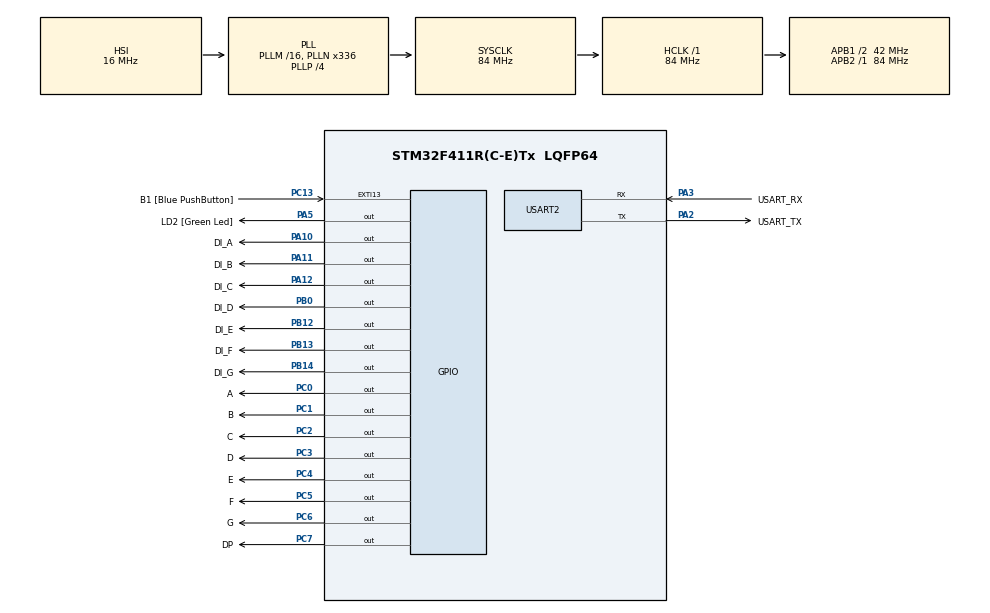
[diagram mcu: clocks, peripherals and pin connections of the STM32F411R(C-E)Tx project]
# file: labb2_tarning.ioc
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Mcu.Family=STM32F4
Mcu.Name=STM32F411R(C-E)Tx
Mcu.Package=LQFP64
NVIC.PriorityGroup=NVIC_PRIORITYGROUP_0
PA10.GPIO_Label=DI_A
PA10.Signal=GPIO_Output
PA11.GPIO_Label=DI_B
PA11.Signal=GPIO_Output
PA12.GPIO_Label=DI_C
PA12.Signal=GPIO_Output
PA13.GPIO_Label=TMS
PA13.Mode=Serial_Wire
PA13.Signal=SYS_JTMS-SWDIO
PA14.GPIO_Label=TCK
PA14.Mode=Serial_Wire
PA14.Signal=SYS_JTCK-SWCLK
PA2.GPIO_Label=USART_TX
PA2.Mode=Asynchronous
PA2.Signal=USART2_TX
PA3.GPIO_Label=USART_RX
PA3.Mode=Asynchronous
PA3.Signal=USART2_RX
PA5.GPIO_Label=LD2 [Green Led]
PA5.Signal=GPIO_Output
PB0.GPIO_Label=DI_D
PB0.Signal=GPIO_Output
PB12.GPIO_Label=DI_E
PB12.Signal=GPIO_Output
PB13.GPIO_Label=DI_F
PB13.Signal=GPIO_Output
PB14.GPIO_Label=DI_G
PB14.Signal=GPIO_Output
PB3.GPIO_Label=SWO
PB3.Signal=SYS_JTDO-SWO
PC0.GPIO_Label=A
PC0.PinState=GPIO_PIN_RESET
PC0.Signal=GPIO_Output
PC1.GPIO_Label=B
PC1.PinState=GPIO_PIN_RESET
PC1.Signal=GPIO_Output
PC13-ANTI_TAMP.GPIO_Label=B1 [Blue PushButton]
PC13-ANTI_TAMP.GPIO_ModeDefaultEXTI=GPIO_MODE_IT_FALLING
PC13-ANTI_TAMP.Signal=GPXTI13
PC14-OSC32_IN.Mode=LSE-External-Oscillator
PC14-OSC32_IN.Signal=RCC_OSC32_IN
PC15-OSC32_OUT.Mode=LSE-External-Oscillator
PC15-OSC32_OUT.Signal=RCC_OSC32_OUT
PC2.GPIO_Label=C
PC2.PinState=GPIO_PIN_RESET
PC2.Signal=GPIO_Output
PC3.GPIO_Label=D
PC3.PinState=GPIO_PIN_RESET
PC3.Signal=GPIO_Output
PC4.GPIO_Label=E
PC4.PinState=GPIO_PIN_RESET
PC4.Signal=GPIO_Output
PC5.GPIO_Label=F
PC5.PinState=GPIO_PIN_RESET
PC5.Signal=GPIO_Output
PC6.GPIO_Label=G
PC6.PinState=GPIO_PIN_RESET
PC6.Signal=GPIO_Output
PC7.GPIO_Label=DP
PC7.PinState=GPIO_PIN_RESET
PC7.Signal=GPIO_Output
PH0\ -\ OSC_IN.Mode=HSE-External-Clock-Source
PH0\ -\ OSC_IN.Signal=RCC_OSC_IN
PH1\ -\ OSC_OUT.Mode=HSE-External-Clock-Source
PH1\ -\ OSC_OUT.Signal=RCC_OSC_OUT
ProjectManager.HeapSize=0x200
ProjectManager.StackSize=0x400
ProjectManager.TargetToolchain=STM32CubeIDE
RCC.48MHZClocksFreq_Value=84000000
RCC.AHBFreq_Value=84000000
RCC.APB1CLKDivider=RCC_HCLK_DIV2
RCC.APB1Freq_Value=42000000
RCC.APB1TimFreq_Value=84000000
RCC.APB2Freq_Value=84000000
RCC.APB2TimFreq_Value=84000000
RCC.CortexFreq_Value=84000000
RCC.FLatency-AdvancedSettings=FLASH_LATENCY_2
RCC.HCLKFreq_Value=84000000
RCC.HSE_VALUE=8000000
RCC.HSI_VALUE=16000000
RCC.PLLN=336
RCC.PLLP=RCC_PLLP_DIV4
RCC.SYSCLKFreq_VALUE=84000000
RCC.SYSCLKSource=RCC_SYSCLKSOURCE_PLLCLK
RCC.VCOOutputFreq_Value=336000000
USART2.VirtualMode=VM_ASYNC
board=NUCLEO-F411RE

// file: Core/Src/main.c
/* USER CODE BEGIN Header */
/**
  ******************************************************************************
  * @file           : main.c
  * @brief          : Main program body
  ******************************************************************************
  * @attention
  *
  * Copyright (c) 2023 STMicroelectronics.
  * All rights reserved.
  *
  * This software is licensed under terms that can be found in the LICENSE file
  * in the root directory of this software component.
  * If no LICENSE file comes with this software, it is provided AS-IS.
  *
  ******************************************************************************
  */
/* USER CODE END Header */
#include "main.h"

/* USER CODE BEGIN PTD */
  const uint8_t sseg[10] = {0x3F, 0x6, 0x5B, 0x4F, 0x66, 0x6D, 0x7D, 0x7, 0x7F, 0x6F, 0xDC};
  const uint8_t sseg_err = 0xDC;
/* USER CODE END PTD */

UART_HandleTypeDef huart2;

void SystemClock_Config(void);
static void MX_GPIO_Init(void);
static void MX_USART2_UART_Init(void);

/* USER CODE BEGIN 0 */
//return 1 if blue button is pressed
//return 0 if blue button is't pressed
int is_blue_butten_pressed()
{

	if(GPIOC->IDR & (1 << 13)){
		return 0;
	}
	else{
	   return 1;
	}
}

void put_die_dots(uint8_t die_nbr){

	switch(die_nbr){
		case 1:
			HAL_GPIO_WritePin(DI_A_GPIO_Port, DI_A_Pin, GPIO_PIN_RESET);
			HAL_GPIO_WritePin(DI_B_GPIO_Port, DI_B_Pin, GPIO_PIN_RESET);
			HAL_GPIO_WritePin(DI_C_GPIO_Port, DI_C_Pin, GPIO_PIN_RESET);
			HAL_GPIO_WritePin(DI_D_GPIO_Port, DI_D_Pin, GPIO_PIN_SET);
			HAL_GPIO_WritePin(DI_E_GPIO_Port, DI_E_Pin, GPIO_PIN_RESET);
			HAL_GPIO_WritePin(DI_F_GPIO_Port, DI_F_Pin, GPIO_PIN_RESET);
			HAL_GPIO_WritePin(DI_G_GPIO_Port, DI_G_Pin, GPIO_PIN_RESET);
			break;
		case 2:
			HAL_GPIO_WritePin(DI_A_GPIO_Port, DI_A_Pin, GPIO_PIN_SET);
			HAL_GPIO_WritePin(DI_B_GPIO_Port, DI_B_Pin, GPIO_PIN_RESET);
			HAL_GPIO_WritePin(DI_C_GPIO_Port, DI_C_Pin, GPIO_PIN_RESET);
			HAL_GPIO_WritePin(DI_D_GPIO_Port, DI_D_Pin, GPIO_PIN_RESET);
			HAL_GPIO_WritePin(DI_E_GPIO_Port, DI_E_Pin, GPIO_PIN_RESET);
			HAL_GPIO_WritePin(DI_F_GPIO_Port, DI_F_Pin, GPIO_PIN_RESET);
			HAL_GPIO_WritePin(DI_G_GPIO_Port, DI_G_Pin, GPIO_PIN_RESET);
			break;
		case 3:
			HAL_GPIO_WritePin(DI_A_GPIO_Port, DI_A_Pin, GPIO_PIN_RESET);
			HAL_GPIO_WritePin(DI_B_GPIO_Port, DI_B_Pin, GPIO_PIN_SET);
			HAL_GPIO_WritePin(DI_C_GPIO_Port, DI_C_Pin, GPIO_PIN_RESET);
			HAL_GPIO_WritePin(DI_D_GPIO_Port, DI_D_Pin, GPIO_PIN_RESET);
			HAL_GPIO_WritePin(DI_E_GPIO_Port, DI_E_Pin, GPIO_PIN_RESET);
			HAL_GPIO_WritePin(DI_F_GPIO_Port, DI_F_Pin, GPIO_PIN_RESET);
			HAL_GPIO_WritePin(DI_G_GPIO_Port, DI_G_Pin, GPIO_PIN_RESET);
			break;
		case 4:
			HAL_GPIO_WritePin(DI_A_GPIO_Port, DI_A_Pin, GPIO_PIN_RESET);
			HAL_GPIO_WritePin(DI_B_GPIO_Port, DI_B_Pin, GPIO_PIN_RESET);
			HAL_GPIO_WritePin(DI_C_GPIO_Port, DI_C_Pin, GPIO_PIN_SET);
			HAL_GPIO_WritePin(DI_D_GPIO_Port, DI_D_Pin, GPIO_PIN_RESET);
			HAL_GPIO_WritePin(DI_E_GPIO_Port, DI_E_Pin, GPIO_PIN_RESET);
			HAL_GPIO_WritePin(DI_F_GPIO_Port, DI_F_Pin, GPIO_PIN_RESET);
			HAL_GPIO_WritePin(DI_G_GPIO_Port, DI_G_Pin, GPIO_PIN_RESET);
			break;
		case 5:
			HAL_GPIO_WritePin(DI_A_GPIO_Port, DI_A_Pin, GPIO_PIN_RESET);
			HAL_GPIO_WritePin(DI_B_GPIO_Port, DI_B_Pin, GPIO_PIN_RESET);
			HAL_GPIO_WritePin(DI_C_GPIO_Port, DI_C_Pin, GPIO_PIN_RESET);
			HAL_GPIO_WritePin(DI_D_GPIO_Port, DI_D_Pin, GPIO_PIN_RESET);
			HAL_GPIO_WritePin(DI_E_GPIO_Port, DI_E_Pin, GPIO_PIN_SET);
			HAL_GPIO_WritePin(DI_F_GPIO_Port, DI_F_Pin, GPIO_PIN_RESET);
			HAL_GPIO_WritePin(DI_G_GPIO_Port, DI_G_Pin, GPIO_PIN_RESET);
			break;
		case 6:
			HAL_GPIO_WritePin(DI_A_GPIO_Port, DI_A_Pin, GPIO_PIN_RESET);
			HAL_GPIO_WritePin(DI_B_GPIO_Port, DI_B_Pin, GPIO_PIN_RESET);
			HAL_GPIO_WritePin(DI_C_GPIO_Port, DI_C_Pin, GPIO_PIN_RESET);
			HAL_GPIO_WritePin(DI_D_GPIO_Port, DI_D_Pin, GPIO_PIN_RESET);
			HAL_GPIO_WritePin(DI_E_GPIO_Port, DI_E_Pin, GPIO_PIN_RESET);
			HAL_GPIO_WritePin(DI_F_GPIO_Port, DI_F_Pin, GPIO_PIN_SET);
			HAL_GPIO_WritePin(DI_G_GPIO_Port, DI_G_Pin, GPIO_PIN_RESET);
			break;
		default:
			HAL_GPIO_WritePin(DI_A_GPIO_Port, DI_A_Pin, GPIO_PIN_RESET);
			HAL_GPIO_WritePin(DI_B_GPIO_Port, DI_B_Pin, GPIO_PIN_RESET);
			HAL_GPIO_WritePin(DI_C_GPIO_Port, DI_C_Pin, GPIO_PIN_RESET);
			HAL_GPIO_WritePin(DI_D_GPIO_Port, DI_D_Pin, GPIO_PIN_RESET);
			HAL_GPIO_WritePin(DI_E_GPIO_Port, DI_E_Pin, GPIO_PIN_RESET);
			HAL_GPIO_WritePin(DI_F_GPIO_Port, DI_F_Pin, GPIO_PIN_RESET);
			HAL_GPIO_WritePin(DI_G_GPIO_Port, DI_G_Pin, GPIO_PIN_SET);
			break;

	}
}

void put_on_sseg(uint8_t dec_nbr){

	if (dec_nbr >= 0 && dec_nbr <= 9){
		GPIOC->ODR = sseg[dec_nbr];

	}
	else {
		GPIOC->ODR = sseg_err;
	}
}

/* USER CODE END 0 */

int main(void)
{
  /* USER CODE BEGIN 1 */
	//func_a();
  /* USER CODE END 1 */

  /* MCU Configuration--------------------------------------------------------*/

  /* Reset of all peripherals, Initializes the Flash interface and the Systick. */
  HAL_Init();

  /* Configure the system clock */
  SystemClock_Config();

  /* Initialize all configured peripherals */
  MX_GPIO_Init();
  MX_USART2_UART_Init();

  /* Infinite loop */
  /* USER CODE BEGIN WHILE */
  int pressed = 0;
  uint8_t die_value = 0;

  for(uint8_t i = 0; i <= 9; i++){
  		put_on_sseg(i);
  		HAL_Delay(333);
  	}
  put_on_sseg(88); // should desplay the error pattern

  while (1)
  {
	  die_value = (rand() % 6) + 1;

	 pressed = HAL_GPIO_ReadPin(B1_GPIO_Port, B1_Pin);
	 if(is_blue_butten_pressed()){
		 HAL_GPIO_WritePin(LD2_GPIO_Port,LD2_Pin, GPIO_PIN_SET);
		 put_die_dots( die_value);
		 put_on_sseg(die_value);
		 HAL_Delay(100);
	 }
	 else {
		 GPIO_TypeDef* ld2_gpio = GPIOC;
		 uint16_t	ld2_pin_nbr = 13;
		 uint16_t	ld2_pin		= 0x01 << ld2_pin_nbr;
		 HAL_GPIO_WritePin(ld2_gpio, ld2_pin,GPIO_PIN_RESET);
	 }
    /* USER CODE END WHILE */

  }
}

void SystemClock_Config(void)
{
  RCC_OscInitTypeDef RCC_OscInitStruct = {0};
  RCC_ClkInitTypeDef RCC_ClkInitStruct = {0};

  /** Configure the main internal regulator output voltage
  */
  __HAL_RCC_PWR_CLK_ENABLE();
  __HAL_PWR_VOLTAGESCALING_CONFIG(PWR_REGULATOR_VOLTAGE_SCALE1);

  /** Initializes the RCC Oscillators according to the specified parameters
  * in the RCC_OscInitTypeDef structure.
  */
  RCC_OscInitStruct.OscillatorType = RCC_OSCILLATORTYPE_HSI;
  RCC_OscInitStruct.HSIState = RCC_HSI_ON;
  RCC_OscInitStruct.HSICalibrationValue = RCC_HSICALIBRATION_DEFAULT;
  RCC_OscInitStruct.PLL.PLLState = RCC_PLL_ON;
  RCC_OscInitStruct.PLL.PLLSource = RCC_PLLSOURCE_HSI;
  RCC_OscInitStruct.PLL.PLLM = 16;
  RCC_OscInitStruct.PLL.PLLN = 336;
  RCC_OscInitStruct.PLL.PLLP = RCC_PLLP_DIV4;
  RCC_OscInitStruct.PLL.PLLQ = 4;
  if (HAL_RCC_OscConfig(&RCC_OscInitStruct) != HAL_OK)
  {
    Error_Handler();
  }

  /** Initializes the CPU, AHB and APB buses clocks
  */
  RCC_ClkInitStruct.ClockType = RCC_CLOCKTYPE_HCLK|RCC_CLOCKTYPE_SYSCLK
                              |RCC_CLOCKTYPE_PCLK1|RCC_CLOCKTYPE_PCLK2;
  RCC_ClkInitStruct.SYSCLKSource = RCC_SYSCLKSOURCE_PLLCLK;
  RCC_ClkInitStruct.AHBCLKDivider = RCC_SYSCLK_DIV1;
  RCC_ClkInitStruct.APB1CLKDivider = RCC_HCLK_DIV2;
  RCC_ClkInitStruct.APB2CLKDivider = RCC_HCLK_DIV1;

  if (HAL_RCC_ClockConfig(&RCC_ClkInitStruct, FLASH_LATENCY_2) != HAL_OK)
  {
    Error_Handler();
  }
}

static void MX_USART2_UART_Init(void)
{

  huart2.Instance = USART2;
  huart2.Init.BaudRate = 115200;
  huart2.Init.WordLength = UART_WORDLENGTH_8B;
  huart2.Init.StopBits = UART_STOPBITS_1;
  huart2.Init.Parity = UART_PARITY_NONE;
  huart2.Init.Mode = UART_MODE_TX_RX;
  huart2.Init.HwFlowCtl = UART_HWCONTROL_NONE;
  huart2.Init.OverSampling = UART_OVERSAMPLING_16;
  if (HAL_UART_Init(&huart2) != HAL_OK)
  {
    Error_Handler();
  }

}

static void MX_GPIO_Init(void)
{
  GPIO_InitTypeDef GPIO_InitStruct = {0};

  /* GPIO Ports Clock Enable */
  __HAL_RCC_GPIOC_CLK_ENABLE();
  __HAL_RCC_GPIOH_CLK_ENABLE();
  __HAL_RCC_GPIOA_CLK_ENABLE();
  __HAL_RCC_GPIOB_CLK_ENABLE();

  /*Configure GPIO pin Output Level */
  HAL_GPIO_WritePin(GPIOC, A_Pin|B_Pin|C_Pin|D_Pin
                          |E_Pin|F_Pin|G_Pin|DP_Pin, GPIO_PIN_RESET);

  /*Configure GPIO pin Output Level */
  HAL_GPIO_WritePin(GPIOA, LD2_Pin|DI_A_Pin|DI_B_Pin|DI_C_Pin, GPIO_PIN_RESET);

  /*Configure GPIO pin Output Level */
  HAL_GPIO_WritePin(GPIOB, DI_D_Pin|DI_E_Pin|DI_F_Pin|DI_G_Pin, GPIO_PIN_RESET);

  /*Configure GPIO pin : B1_Pin */
  GPIO_InitStruct.Pin = B1_Pin;
  GPIO_InitStruct.Mode = GPIO_MODE_IT_FALLING;
  GPIO_InitStruct.Pull = GPIO_NOPULL;
  HAL_GPIO_Init(B1_GPIO_Port, &GPIO_InitStruct);

  /*Configure GPIO pins : A_Pin B_Pin C_Pin D_Pin
                           E_Pin F_Pin G_Pin DP_Pin */
  GPIO_InitStruct.Pin = A_Pin|B_Pin|C_Pin|D_Pin
                          |E_Pin|F_Pin|G_Pin|DP_Pin;
  GPIO_InitStruct.Mode = GPIO_MODE_OUTPUT_PP;
  GPIO_InitStruct.Pull = GPIO_NOPULL;
  GPIO_InitStruct.Speed = GPIO_SPEED_FREQ_LOW;
  HAL_GPIO_Init(GPIOC, &GPIO_InitStruct);

  /*Configure GPIO pins : LD2_Pin DI_A_Pin DI_B_Pin DI_C_Pin */
  GPIO_InitStruct.Pin = LD2_Pin|DI_A_Pin|DI_B_Pin|DI_C_Pin;
  GPIO_InitStruct.Mode = GPIO_MODE_OUTPUT_PP;
  GPIO_InitStruct.Pull = GPIO_NOPULL;
  GPIO_InitStruct.Speed = GPIO_SPEED_FREQ_LOW;
  HAL_GPIO_Init(GPIOA, &GPIO_InitStruct);

  /*Configure GPIO pins : DI_D_Pin DI_E_Pin DI_F_Pin DI_G_Pin */
  GPIO_InitStruct.Pin = DI_D_Pin|DI_E_Pin|DI_F_Pin|DI_G_Pin;
  GPIO_InitStruct.Mode = GPIO_MODE_OUTPUT_PP;
  GPIO_InitStruct.Pull = GPIO_NOPULL;
  GPIO_InitStruct.Speed = GPIO_SPEED_FREQ_LOW;
  HAL_GPIO_Init(GPIOB, &GPIO_InitStruct);

}

void Error_Handler(void)
{
  __disable_irq();
  while (1)
  {
  }
}
